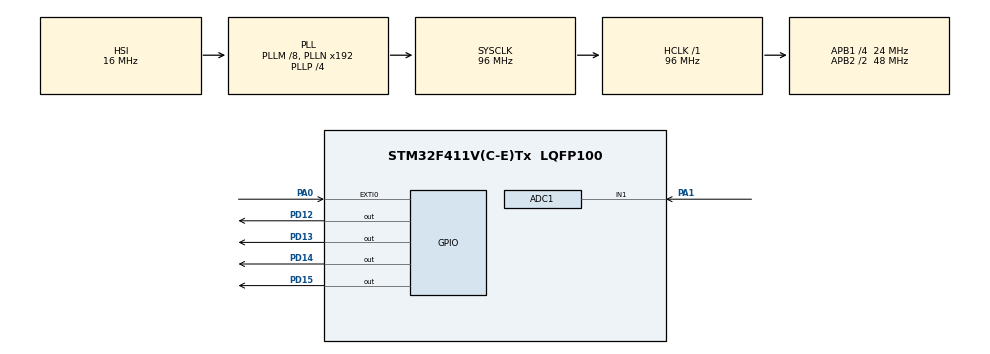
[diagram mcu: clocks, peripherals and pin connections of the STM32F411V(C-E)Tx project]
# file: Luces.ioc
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ADC1.Channel-0\#ChannelRegularConversion=ADC_CHANNEL_1
ADC1.ContinuousConvMode=ENABLE
ADC1.NbrOfConversionFlag=1
ADC1.Rank-0\#ChannelRegularConversion=1
ADC1.SamplingTime-0\#ChannelRegularConversion=ADC_SAMPLETIME_3CYCLES
ADC1.master=1
Mcu.Family=STM32F4
Mcu.Name=STM32F411V(C-E)Tx
Mcu.Package=LQFP100
NVIC.EXTI0_IRQn=true\:0\:0\:false\:false\:true\:true\:true\:true
NVIC.PriorityGroup=NVIC_PRIORITYGROUP_0
PA0-WKUP.Signal=GPXTI0
PA1.Signal=ADCx_IN1
PD12.Signal=GPIO_Output
PD13.Signal=GPIO_Output
PD14.Signal=GPIO_Output
PD15.Signal=GPIO_Output
ProjectManager.HeapSize=0x200
ProjectManager.StackSize=0x400
ProjectManager.TargetToolchain=STM32CubeIDE
RCC.48MHZClocksFreq_Value=48000000
RCC.AHBFreq_Value=96000000
RCC.APB1CLKDivider=RCC_HCLK_DIV4
RCC.APB1Freq_Value=24000000
RCC.APB1TimFreq_Value=48000000
RCC.APB2CLKDivider=RCC_HCLK_DIV2
RCC.APB2Freq_Value=48000000
RCC.APB2TimFreq_Value=96000000
RCC.CortexFreq_Value=96000000
RCC.HCLKFreq_Value=96000000
RCC.HSE_VALUE=8000000
RCC.HSI_VALUE=16000000
RCC.LSE_VALUE=32768
RCC.PLLI2SM=5
RCC.PLLI2SN=200
RCC.PLLM=8
RCC.PLLP=RCC_PLLP_DIV4
RCC.PLLQ=8
RCC.SYSCLKFreq_VALUE=96000000
RCC.SYSCLKSource=RCC_SYSCLKSOURCE_PLLCLK
RCC.VCOOutputFreq_Value=384000000
SH.ADCx_IN1.0=ADC1_IN1,IN1
board=STM32F411E-DISCO

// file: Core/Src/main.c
/* USER CODE BEGIN Header */
/**
  ******************************************************************************
  * @file           : main.c
  * @brief          : Main program body
  ******************************************************************************
  * @attention
  *
  * Copyright (c) 2024 STMicroelectronics.
  * All rights reserved.
  *
  * This software is licensed under terms that can be found in the LICENSE file
  * in the root directory of this software component.
  * If no LICENSE file comes with this software, it is provided AS-IS.
  *
  ******************************************************************************
  */
/* USER CODE END Header */
#include "main.h"

ADC_HandleTypeDef hadc1;

void SystemClock_Config(void);
static void MX_GPIO_Init(void);
static void MX_ADC1_Init(void);

/* USER CODE BEGIN 0 */
uint16_t ADC_val; //Hemos puesto que tiene 12 bit
uint8_t pulsador=0;
uint16_t valor_ldr;
uint8_t luz=0; //Estado de la luz: 0 apagado, 1 encendido

void HAL_ADC_ConvCltCallback(ADC_HandleTypeDef* hadc)
{
	if(hadc->Instance == ADC1)
	{
		ADC_val= HAL_ADC_GetValue(&hadc1);
	}
}

void HAL_GPIO_EXTI_Callback(uint16_t GPIO_Pin)
{
 if(GPIO_Pin== GPIO_PIN_0)
 {
	 luz=!luz; //Cambiar el estado de la luz cuando pulsamos el botón
	 if (luz)
	 {
		 HAL_GPIO_WritePin(GPIOD, GPIO_PIN_13,GPIO_PIN_SET);
	 }
	 else
	 {
		 HAL_GPIO_WritePin(GPIOD, GPIO_PIN_13,GPIO_PIN_RESET);
	 }
 }
}

Controlar_LED(valor_ldr)
{
	if(!luz)//El botón no está pulsado
	{
		//Por debajo de un umbral de luz, se enciende el LED
			if(valor_ldr<100)
			{
				HAL_GPIO_WritePin(GPIOD, GPIO_PIN_13,GPIO_PIN_SET);//Encender el led azul de la placa
			}
			else
			{
				HAL_GPIO_WritePin(GPIOD, GPIO_PIN_13,GPIO_PIN_RESET);//Apaga el led azul
			}
	}

}

/* USER CODE END 0 */

int main(void)
{

  /* MCU Configuration--------------------------------------------------------*/

  /* Reset of all peripherals, Initializes the Flash interface and the Systick. */
  HAL_Init();

  /* Configure the system clock */
  SystemClock_Config();

  /* Initialize all configured peripherals */
  MX_GPIO_Init();
  MX_ADC1_Init();
  /* USER CODE BEGIN 2 */
  HAL_ADC_Start_IT(&hadc1);
  /* USER CODE END 2 */

  /* Infinite loop */
  while (1)
  {

    /* USER CODE BEGIN 3 */
	 Controlar_LED(ADC_val);
  }
  /* USER CODE END 3 */
}

void SystemClock_Config(void)
{
  RCC_OscInitTypeDef RCC_OscInitStruct = {0};
  RCC_ClkInitTypeDef RCC_ClkInitStruct = {0};

  /** Configure the main internal regulator output voltage
  */
  __HAL_RCC_PWR_CLK_ENABLE();
  __HAL_PWR_VOLTAGESCALING_CONFIG(PWR_REGULATOR_VOLTAGE_SCALE1);

  /** Initializes the RCC Oscillators according to the specified parameters
  * in the RCC_OscInitTypeDef structure.
  */
  RCC_OscInitStruct.OscillatorType = RCC_OSCILLATORTYPE_HSI;
  RCC_OscInitStruct.HSIState = RCC_HSI_ON;
  RCC_OscInitStruct.HSICalibrationValue = RCC_HSICALIBRATION_DEFAULT;
  RCC_OscInitStruct.PLL.PLLState = RCC_PLL_ON;
  RCC_OscInitStruct.PLL.PLLSource = RCC_PLLSOURCE_HSI;
  RCC_OscInitStruct.PLL.PLLM = 8;
  RCC_OscInitStruct.PLL.PLLN = 192;
  RCC_OscInitStruct.PLL.PLLP = RCC_PLLP_DIV4;
  RCC_OscInitStruct.PLL.PLLQ = 8;
  if (HAL_RCC_OscConfig(&RCC_OscInitStruct) != HAL_OK)
  {
    Error_Handler();
  }

  /** Initializes the CPU, AHB and APB buses clocks
  */
  RCC_ClkInitStruct.ClockType = RCC_CLOCKTYPE_HCLK|RCC_CLOCKTYPE_SYSCLK
                              |RCC_CLOCKTYPE_PCLK1|RCC_CLOCKTYPE_PCLK2;
  RCC_ClkInitStruct.SYSCLKSource = RCC_SYSCLKSOURCE_PLLCLK;
  RCC_ClkInitStruct.AHBCLKDivider = RCC_SYSCLK_DIV1;
  RCC_ClkInitStruct.APB1CLKDivider = RCC_HCLK_DIV4;
  RCC_ClkInitStruct.APB2CLKDivider = RCC_HCLK_DIV2;

  if (HAL_RCC_ClockConfig(&RCC_ClkInitStruct, FLASH_LATENCY_3) != HAL_OK)
  {
    Error_Handler();
  }
}

static void MX_ADC1_Init(void)
{

  ADC_ChannelConfTypeDef sConfig = {0};

  /** Configure the global features of the ADC (Clock, Resolution, Data Alignment and number of conversion)
  */
  hadc1.Instance = ADC1;
  hadc1.Init.ClockPrescaler = ADC_CLOCK_SYNC_PCLK_DIV2;
  hadc1.Init.Resolution = ADC_RESOLUTION_12B;
  hadc1.Init.ScanConvMode = DISABLE;
  hadc1.Init.ContinuousConvMode = ENABLE;
  hadc1.Init.DiscontinuousConvMode = DISABLE;
  hadc1.Init.ExternalTrigConvEdge = ADC_EXTERNALTRIGCONVEDGE_NONE;
  hadc1.Init.ExternalTrigConv = ADC_SOFTWARE_START;
  hadc1.Init.DataAlign = ADC_DATAALIGN_RIGHT;
  hadc1.Init.NbrOfConversion = 1;
  hadc1.Init.DMAContinuousRequests = DISABLE;
  hadc1.Init.EOCSelection = ADC_EOC_SINGLE_CONV;
  if (HAL_ADC_Init(&hadc1) != HAL_OK)
  {
    Error_Handler();
  }

  /** Configure for the selected ADC regular channel its corresponding rank in the sequencer and its sample time.
  */
  sConfig.Channel = ADC_CHANNEL_1;
  sConfig.Rank = 1;
  sConfig.SamplingTime = ADC_SAMPLETIME_3CYCLES;
  if (HAL_ADC_ConfigChannel(&hadc1, &sConfig) != HAL_OK)
  {
    Error_Handler();
  }

}

static void MX_GPIO_Init(void)
{
  GPIO_InitTypeDef GPIO_InitStruct = {0};

  /* GPIO Ports Clock Enable */
  __HAL_RCC_GPIOA_CLK_ENABLE();
  __HAL_RCC_GPIOD_CLK_ENABLE();

  /*Configure GPIO pin Output Level */
  HAL_GPIO_WritePin(GPIOD, GPIO_PIN_12|GPIO_PIN_13|GPIO_PIN_14|GPIO_PIN_15, GPIO_PIN_RESET);

  /*Configure GPIO pin : PA0 */
  GPIO_InitStruct.Pin = GPIO_PIN_0;
  GPIO_InitStruct.Mode = GPIO_MODE_IT_RISING;
  GPIO_InitStruct.Pull = GPIO_NOPULL;
  HAL_GPIO_Init(GPIOA, &GPIO_InitStruct);

  /*Configure GPIO pins : PD12 PD13 PD14 PD15 */
  GPIO_InitStruct.Pin = GPIO_PIN_12|GPIO_PIN_13|GPIO_PIN_14|GPIO_PIN_15;
  GPIO_InitStruct.Mode = GPIO_MODE_OUTPUT_PP;
  GPIO_InitStruct.Pull = GPIO_NOPULL;
  GPIO_InitStruct.Speed = GPIO_SPEED_FREQ_LOW;
  HAL_GPIO_Init(GPIOD, &GPIO_InitStruct);

  /* EXTI interrupt init*/
  HAL_NVIC_SetPriority(EXTI0_IRQn, 0, 0);
  HAL_NVIC_EnableIRQ(EXTI0_IRQn);

}

void Error_Handler(void)
{
  __disable_irq();
  while (1)
  {
  }
}
